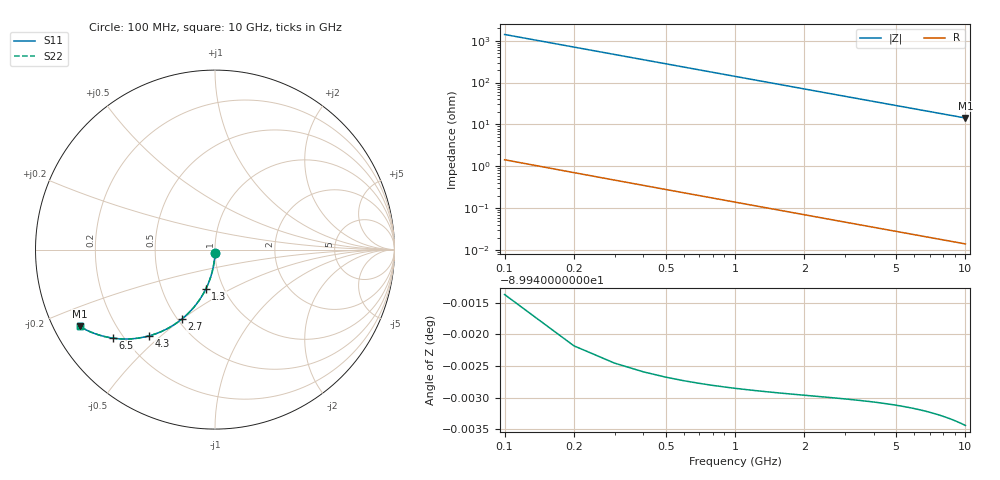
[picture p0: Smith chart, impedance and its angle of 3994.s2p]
# Hz S RI R 50.00
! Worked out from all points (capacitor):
!   100 points, 100 MHz to 10 GHz, reference 50 ohm
!   read as one part in shunt: C = 1.13 pF near 100 MHz
!   lowest |Z| = 14.3 ohm at 10 GHz (marker M1)
!   S11 on the Smith chart (normalised r, x): 100 MHz: 1.00, -0.04; 1.3 GHz: 0.82, -0.38; 2.7 GHz: 0.52, -0.50; 4.3 GHz: 0.30, -0.46; 6.5 GHz: 0.16, -0.37; 10 GHz: 0.08, -0.26
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1e8  -0.000328 -0.0177  0.9997 -0.0178  0.9997 -0.0178  -0.000328 -0.0177
2e8  -0.00129 -0.0354  0.9987 -0.0355  0.9987 -0.0355  -0.00129 -0.0354
3e8  -0.00288 -0.0531  0.9971 -0.0532  0.9971 -0.0532  -0.00288 -0.0531
4e8  -0.00509 -0.0706  0.9949 -0.0708  0.9949 -0.0708  -0.00509 -0.0706
5e8  -0.00791 -0.088  0.9921 -0.0882  0.9921 -0.0882  -0.00791 -0.088
6e8  -0.0113 -0.1052  0.9887 -0.1055  0.9887 -0.1055  -0.0113 -0.1052
7e8  -0.0153 -0.1222  0.9847 -0.1226  0.9847 -0.1226  -0.0153 -0.1222
8e8  -0.0199 -0.139  0.9801 -0.1394  0.9801 -0.1394  -0.0199 -0.139
1e9  -0.0307 -0.1718  0.9693 -0.1723  0.9693 -0.1723  -0.0307 -0.1718
1.3e9  -0.0507 -0.2186  0.9493 -0.2193  0.9493 -0.2193  -0.0507 -0.2186
1.5e9  -0.0663 -0.248  0.9336 -0.2487  0.9336 -0.2487  -0.0663 -0.248
1.8e9  -0.0927 -0.2891  0.9073 -0.2899  0.9073 -0.2899  -0.0927 -0.2891
2.2e9  -0.1322 -0.3377  0.8678 -0.3387  0.8678 -0.3387  -0.1322 -0.3377
2.7e9  -0.1863 -0.3882  0.8137 -0.3895  0.8137 -0.3895  -0.1863 -0.3882
3.4e9  -0.2658 -0.4405  0.7342 -0.4421  0.7342 -0.4421  -0.2658 -0.4405
4.3e9  -0.3659 -0.4802  0.6341 -0.4822  0.6341 -0.4822  -0.3659 -0.4802
5.1e9  -0.4474 -0.4955  0.5526 -0.4979  0.5526 -0.4979  -0.4474 -0.4955
6.5e9  -0.5671 -0.4934  0.4329 -0.4965  0.4329 -0.4965  -0.5671 -0.4934
6.7e9  -0.5818 -0.4912  0.4182 -0.4944  0.4182 -0.4944  -0.5818 -0.4912
7.5e9  -0.635 -0.4791  0.365 -0.4827  0.365 -0.4827  -0.635 -0.4791
8.4e9  -0.6853 -0.4619  0.3146 -0.4659  0.3146 -0.4659  -0.6853 -0.4619
1e10  -0.7548 -0.4273  0.2452 -0.4321  0.2452 -0.4321  -0.7548 -0.4273
